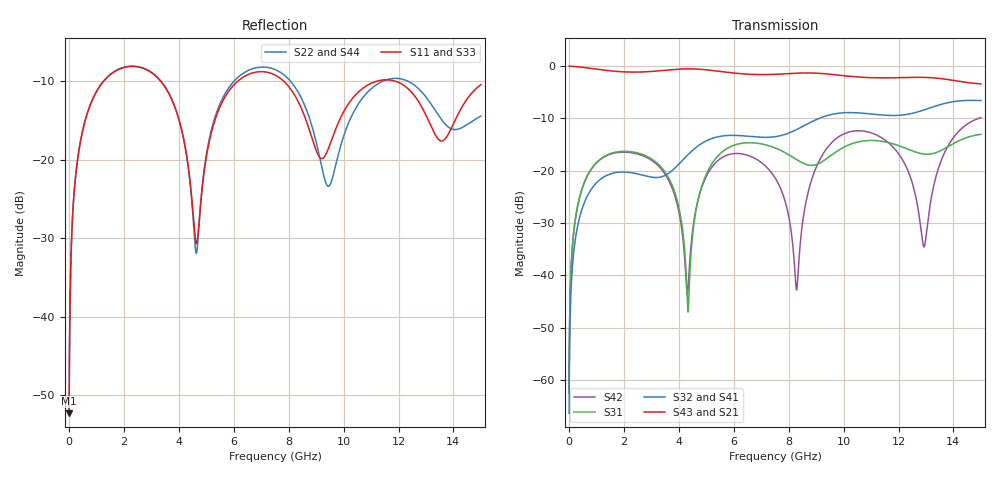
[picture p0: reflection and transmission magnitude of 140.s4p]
! Created with skrf 1.8.0 (http://scikit-rf.org).
# GHz S RI R 50.0
!freq ReS11 ImS11 ReS12 ImS12 ReS13 ImS13
! ReS14 ImS14
! ReS21 ImS21 ReS22 ImS22 ReS23 ImS23
! ReS24 ImS24
! ReS31 ImS31 ReS32 ImS32 ReS33 ImS33
! ReS34 ImS34
! ReS41 ImS41 ReS42 ImS42 ReS43 ImS43
! ReS44 ImS44
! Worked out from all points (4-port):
!   2499 points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, 5 MHz to 15 GHz, reference 50 ohm
!   strongest paths, dB at 5 MHz, 3.476 GHz, 7.19 GHz, 11.1 GHz, 15 GHz:
!     S43: 0.0, -0.8, -1.6, -2.2, -3.4
!     S21: 0.0, -0.8, -1.6, -2.2, -3.4
!     S32: -66.4, -21.0, -13.6, -9.2, -6.6
!     S41: -66.4, -21.0, -13.6, -9.2, -6.6
!     S31: -62.5, -20.1, -15.1, -14.2, -13.0
!     S42: -62.5, -20.5, -19.3, -12.9, -9.8
!   lowest |S11| = -52.3 dB at 5 MHz (marker M1), VSWR 1.00, Z = 50.2 + j0.148 ohm
!   |S11| at or under -10 dB: 3.345 GHz to 6.137 GHz (2.792 GHz wide, 58.9 % of centre); 7.827 GHz to 11.19 GHz (3.359 GHz wide, 35.3 % of centre); 11.91 GHz to end of sweep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
0.005  0.00193 0.00147  0.998 -0.00376  9.73e-05 0.000745  -9.46e-05 -0.000471
       0.998 -0.00376  0.00193 0.00147  -9.46e-05 -0.000471  9.72e-05 0.000745
       9.73e-05 0.000745  -9.46e-05 -0.000471  0.00193 0.00147  0.998 -0.00376
       -9.46e-05 -0.000471  9.72e-05 0.000745  0.998 -0.00376  0.00193 0.00147
0.3626511  0.0399 0.108  0.9446 -0.2666  0.0192 0.0488  -0.0156 -0.0299
           0.9446 -0.2666  0.0401 0.108  -0.0157 -0.0299  0.0185 0.049
           0.0192 0.0488  -0.0157 -0.0299  0.0399 0.108  0.9446 -0.2666
           -0.0156 -0.0299  0.0185 0.049  0.9446 -0.2666  0.0401 0.108
1.67  0.3411 0.133  0.3669 -0.8135  0.1475 0.0266  -0.0927 0.0231
      0.3669 -0.8135  0.3429 0.131  -0.0928 0.0233  0.1433 0.036
      0.1475 0.0266  -0.0928 0.0233  0.341 0.1331  0.3669 -0.8136
      -0.0927 0.0231  0.1433 0.036  0.3669 -0.8136  0.3429 0.1309
4.339308  0.0453 -0.08  -0.9032 -0.2623  -0.00439 0.00104  -0.0366 0.1382
          -0.9032 -0.2623  0.0407 -0.0812  -0.0351 0.1385  -0.00703 0.00312
          -0.00439 0.00104  -0.0351 0.1385  0.0464 -0.0792  -0.9032 -0.2623
          -0.0366 0.1382  -0.00703 0.00312  -0.9032 -0.2623  0.0393 -0.0811
9.33514  0.1051 0.0191  0.8377 0.1028  -0.064 0.1106  0.039 -0.3307
         0.8377 0.1028  0.0655 -0.032  0.0329 -0.3309  0.0481 0.1488
         -0.064 0.1106  0.0329 -0.3309  0.1082 0.0183  0.8375 0.1042
         0.039 -0.3307  0.0481 0.1488  0.8375 0.1042  0.0631 -0.0315
12.93039  0.1838 -0.0875  -0.46 -0.6287  -0.1013 -0.1026  -0.308 0.2249
          -0.46 -0.6287  0.2317 -0.1192  -0.3015 0.233  -0.0173 -0.00726
          -0.1013 -0.1026  -0.3015 0.233  0.1837 -0.0849  -0.4581 -0.6309
          -0.308 0.2249  -0.0173 -0.00726  -0.4581 -0.6309  0.2297 -0.1165
15  0.291 0.0786  -0.6185 0.2707  0.1151 0.1908  0.2457 0.3979
    -0.6185 0.2707  0.1902 -0.000683  0.2564 0.3914  0.2828 0.1537
    0.1151 0.1908  0.2564 0.3914  0.2907 0.072  -0.6213 0.2663
    0.2457 0.3979  0.2828 0.1537  -0.6213 0.2663  0.1889 0.00301
